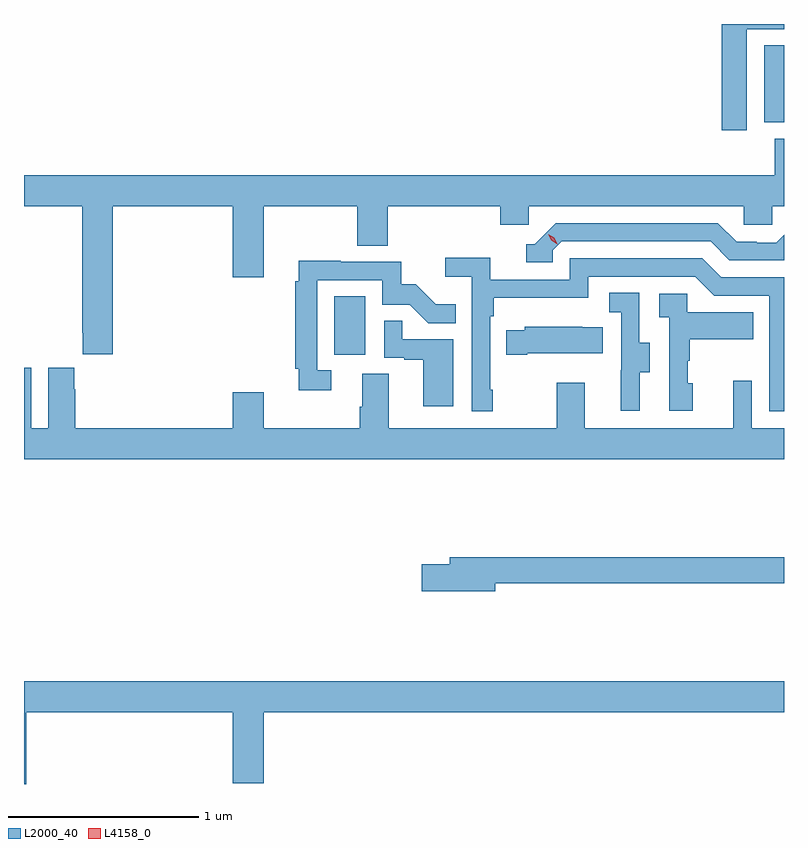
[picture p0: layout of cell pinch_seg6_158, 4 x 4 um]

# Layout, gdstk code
import gdstk
lib = gdstk.Library(unit=1e-6, precision=1e-09)
def R(c, l, rs):  # rectangles x0, y0, x1, y1
    for r in rs: c.add(gdstk.rectangle(r[:2], r[2:], *l))
def P(c, l, *ps):  # polygons
    for p in ps: c.add(gdstk.Polygon(p, *l))
L2000_40 = (2000, 40)
L4158_0 = (4158, 0)

pinch_seg6_158 = lib.new_cell('pinch_seg6_158')
R(pinch_seg6_158, L2000_40, [(1136.57,937.23,1136.734,937.537), (1138.832,938.453,1138.937,938.858)])
P(pinch_seg6_158, L2000_40, [(1138.741,938.943),(1138.937,938.943),(1138.937,938.971),(1138.61,938.971),(1138.61,938.412),(1138.741,938.412)],
  [(1135.403,938.012),(1136.036,938.012),(1136.036,937.638),(1136.2,937.638),(1136.2,938.012),(1136.692,938.012),(1136.692,937.804),(1136.852,937.804),(1136.852,938.012),(1137.443,938.012),(1137.443,937.914),(1137.594,937.914),(1137.594,938.012),(1138.725,938.012),(1138.725,937.914),(1138.875,937.914),(1138.875,938.012),(1138.937,938.012),(1138.937,938.368),(1138.889,938.368),(1138.889,938.176),(1134.937,938.176),(1134.937,938.012),(1135.243,938.012),(1135.243,937.345),(1135.247,937.345),(1135.247,937.233),(1135.403,937.233)],
  [(1137.72,937.779),(1137.768,937.827),(1138.551,937.827),(1138.65,937.728),(1138.937,937.728),(1138.937,937.862),(1138.897,937.821),(1138.794,937.821),(1138.794,937.824),(1138.687,937.824),(1138.588,937.923),(1137.735,937.923),(1137.624,937.812),(1137.581,937.812),(1137.581,937.716),(1137.72,937.716)],
  [(1137.403,937.045),(1137.39,937.045),(1137.39,937.433),(1137.41,937.433),(1137.41,937.529),(1137.906,937.529),(1137.906,937.641),(1138.47,937.641),(1138.569,937.542),(1138.86,937.542),(1138.86,936.933),(1138.937,936.933),(1138.937,937.638),(1138.606,937.638),(1138.507,937.737),(1137.81,937.737),(1137.81,937.626),(1137.392,937.626),(1137.392,937.742),(1137.153,937.742),(1137.153,937.64),(1137.294,937.64),(1137.294,936.933),(1137.403,936.933)],
  [(1136.554,937.149),(1136.481,937.149),(1136.481,937.623),(1136.823,937.623),(1136.823,937.494),(1136.967,937.494),(1137.065,937.396),(1137.209,937.396),(1137.209,937.495),(1137.105,937.495),(1136.998,937.602),(1136.922,937.602),(1136.922,937.719),(1136.603,937.719),(1136.603,937.724),(1136.384,937.724),(1136.384,937.616),(1136.365,937.616),(1136.365,937.156),(1136.384,937.156),(1136.384,937.044),(1136.554,937.044)],
  [(1138.177,937.138),(1138.231,937.138),(1138.231,937.293),(1138.176,937.293),(1138.176,937.556),(1138.017,937.556),(1138.017,937.453),(1138.08,937.453),(1138.08,937.149),(1138.079,937.149),(1138.079,936.936),(1138.177,936.936)],
  [(1138.456,937.08),(1138.431,937.08),(1138.431,937.199),(1138.441,937.199),(1138.441,937.313),(1138.775,937.313),(1138.775,937.453),(1138.428,937.453),(1138.428,937.551),(1138.281,937.551),(1138.281,937.427),(1138.332,937.427),(1138.332,936.936),(1138.456,936.936)],
  [(1137.196,937.311),(1136.927,937.311),(1136.927,937.409),(1136.832,937.409),(1136.832,937.215),(1136.939,937.215),(1136.939,937.203),(1137.038,937.203),(1137.038,936.96),(1137.196,936.96)],
  [(1137.586,937.238),(1137.983,937.238),(1137.983,937.375),(1137.875,937.375),(1137.875,937.378),(1137.573,937.378),(1137.573,937.36),(1137.475,937.36),(1137.475,937.231),(1137.586,937.231)],
  [(1138.937,936.844),(1138.767,936.844),(1138.767,937.093),(1138.67,937.093),(1138.67,936.844),(1137.889,936.844),(1137.889,937.084),(1137.742,937.084),(1137.742,936.844),(1136.857,936.844),(1136.857,937.13),(1136.717,937.13),(1136.717,936.956),(1136.705,936.956),(1136.705,936.844),(1136.2,936.844),(1136.2,937.033),(1136.036,937.033),(1136.036,936.844),(1135.208,936.844),(1135.208,937.049),(1135.201,937.049),(1135.201,937.162),(1135.064,937.162),(1135.064,936.844),(1134.976,936.844),(1134.976,937.162),(1134.937,937.162),(1134.937,936.68),(1138.937,936.68)],
  [(1137.418,936.028),(1138.937,936.028),(1138.937,936.164),(1137.179,936.164),(1137.179,936.128),(1137.03,936.128),(1137.03,935.986),(1137.418,935.986)],
  [(1134.95,935.348),(1136.036,935.348),(1136.036,934.974),(1136.2,934.974),(1136.2,935.348),(1138.937,935.348),(1138.937,935.512),(1134.937,935.512),(1134.937,934.971),(1134.95,934.971)])
P(pinch_seg6_158, L4158_0, [(1137.744,937.813),(1137.713,937.833),(1137.697,937.865),(1137.697,937.865),(1137.697,937.865),(1137.728,937.846),(1137.744,937.813),(1137.744,937.813)])

lib.write_gds('pinch_seg6_158.gds')
